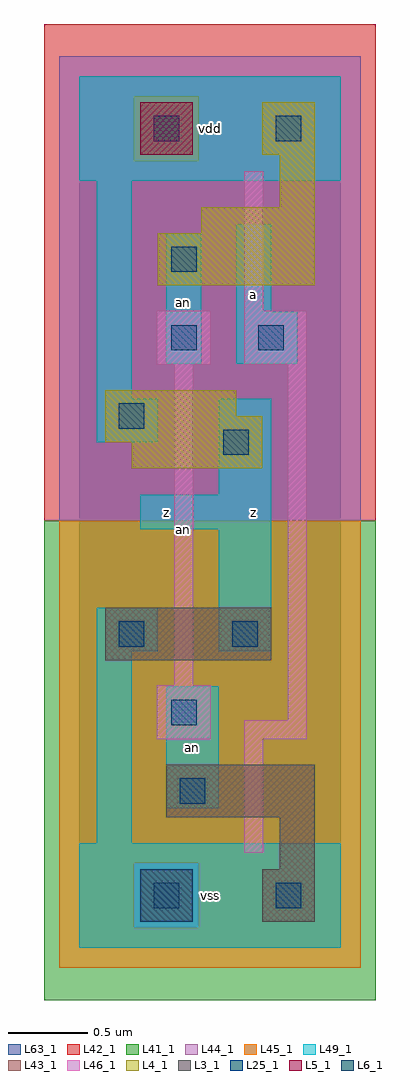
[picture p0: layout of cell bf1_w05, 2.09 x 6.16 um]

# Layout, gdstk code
import gdstk
lib = gdstk.Library(unit=1e-6, precision=1e-09)
def R(c, l, rs):  # rectangles x0, y0, x1, y1
    for r in rs: c.add(gdstk.rectangle(r[:2], r[2:], *l))
L3_1 = (3, 1)
L4_1 = (4, 1)
L5_1 = (5, 1)
L6_1 = (6, 1)
L25_1 = (25, 1)
L41_1 = (41, 1)
L42_1 = (42, 1)
L43_1 = (43, 1)
L44_1 = (44, 1)
L45_1 = (45, 1)
L46_1 = (46, 1)
L49_1 = (49, 1)
L63_1 = (63, 1)

bf1_w05 = lib.new_cell('bf1_w05')
R(bf1_w05, L3_1, [(1.155,0.165,1.485,0.495), (1.265,0.495,1.485,0.825), (0.55,0.825,1.485,1.155), (0.165,1.815,1.21,2.145)])
R(bf1_w05, L4_1, [(0.33,3.025,1.155,3.19), (0.165,3.19,1.155,3.355), (0.165,3.355,0.99,3.52), (0.495,4.18,1.485,4.51), (0.77,4.51,1.485,4.675), (1.265,4.675,1.485,5.005), (1.155,5.005,1.485,5.335)])
R(bf1_w05, L5_1, [(0.385,5.005,0.715,5.335)])
R(bf1_w05, L6_1, [(0.385,0.165,0.715,0.495)])
R(bf1_w05, L25_1, [(0.47,0.25,0.63,0.41), (1.24,0.25,1.4,0.41), (0.635,0.91,0.795,1.07), (0.58,1.405,0.74,1.565), (0.25,1.9,0.41,2.06), (0.965,1.9,1.125,2.06), (0.91,3.11,1.07,3.27), (0.25,3.275,0.41,3.435), (0.58,3.77,0.74,3.93), (1.13,3.77,1.29,3.93), (0.58,4.265,0.74,4.425), (0.47,5.09,0.63,5.25), (1.24,5.09,1.4,5.25)])
R(bf1_w05, L41_1, [(-0.22,-0.33,1.87,2.695)])
R(bf1_w05, L42_1, [(-0.22,2.695,1.87,5.83)])
R(bf1_w05, L43_1, [(0.385,0.165,0.715,0.495), (1.155,0.165,1.485,0.495), (1.265,0.495,1.485,0.825), (0.55,0.825,1.485,1.155), (0.165,1.815,1.21,2.145), (0.33,3.025,1.155,3.19), (0.165,3.19,1.155,3.355), (0.165,3.355,0.99,3.52), (0.495,4.18,1.485,4.51), (0.77,4.51,1.485,4.675), (1.265,4.675,1.485,5.005), (0.385,5.005,0.715,5.335), (1.155,5.005,1.485,5.335)])
R(bf1_w05, L44_1, [(0.345,0.125,0.755,0.535), (-0.125,2.695,1.775,4.965), (-0.125,4.965,0.345,5.375), (0.755,4.965,1.775,5.375), (-0.125,5.375,1.775,5.625)])
R(bf1_w05, L45_1, [(-0.125,-0.125,1.775,0.125), (-0.125,0.125,0.345,0.535), (0.755,0.125,1.775,0.535), (-0.125,0.535,1.775,2.695), (0.345,4.965,0.755,5.375)])
R(bf1_w05, L46_1, [(1.04,0.6,1.16,1.315), (0.49,1.315,0.83,1.655), (1.04,1.315,1.435,1.435), (1.315,1.435,1.435,3.68), (0.6,1.655,0.72,3.68), (0.49,3.68,0.83,4.02), (1.04,3.68,1.435,4.02), (1.04,4.02,1.16,4.9)])
R(bf1_w05, L49_1, [(0,0,1.65,0.66), (0.11,0.66,0.33,1.87), (0.55,0.88,0.88,1.65), (0.11,1.87,0.495,2.145), (0.88,1.87,1.21,2.64), (0.385,2.64,1.21,2.86), (0.88,2.86,1.21,3.465), (0.11,3.19,0.495,3.465), (0.11,3.465,0.33,4.84), (0.55,3.685,0.77,4.51), (0.99,3.685,1.375,4.015), (0.99,4.015,1.21,4.565), (0,4.84,1.65,5.5)])
R(bf1_w05, L63_1, [(0,0,1.65,5.5)])
bf1_w05.add(gdstk.Label('an', (0.66,2.64), layer=46, texttype=1))
bf1_w05.add(gdstk.Label('z', (0.55,2.75), layer=49, texttype=1))
bf1_w05.add(gdstk.Label('z', (0.55,2.75), layer=49, texttype=1))
bf1_w05.add(gdstk.Label('an', (0.66,4.07), layer=49, texttype=1))
bf1_w05.add(gdstk.Label('vss', (0.825,0.33), layer=49, texttype=1))
bf1_w05.add(gdstk.Label('vss', (0.825,0.33), layer=49, texttype=1))
bf1_w05.add(gdstk.Label('an', (0.715,1.265), layer=49, texttype=1))
bf1_w05.add(gdstk.Label('z', (1.1,2.75), layer=49, texttype=1))
bf1_w05.add(gdstk.Label('z', (1.1,2.75), layer=49, texttype=1))
bf1_w05.add(gdstk.Label('a', (1.1,4.125), layer=49, texttype=1))
bf1_w05.add(gdstk.Label('a', (1.1,4.125), layer=49, texttype=1))
bf1_w05.add(gdstk.Label('vdd', (0.825,5.17), layer=49, texttype=1))
bf1_w05.add(gdstk.Label('vdd', (0.825,5.17), layer=49, texttype=1))

lib.write_gds('bf1_w05.gds')
